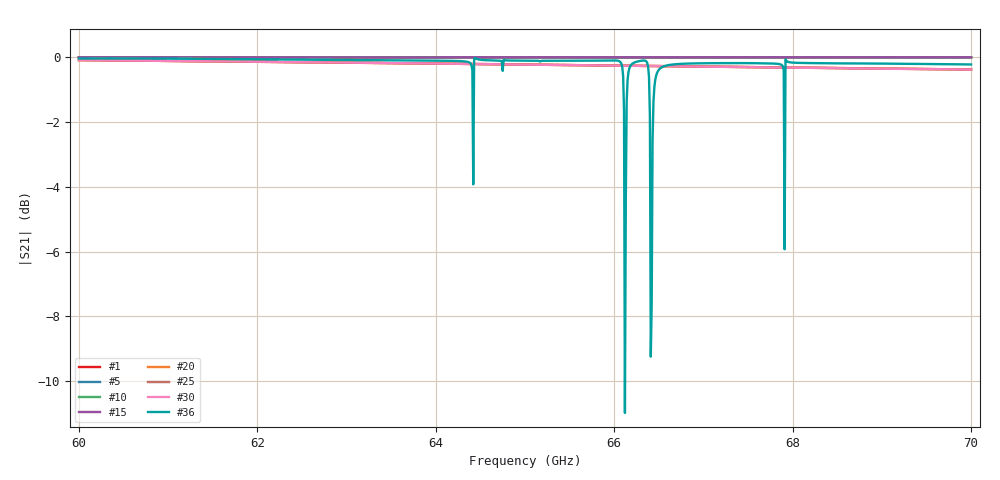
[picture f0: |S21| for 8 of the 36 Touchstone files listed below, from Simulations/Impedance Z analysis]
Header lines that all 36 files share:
! TOUCHSTONE file generated by CST MICROWAVE STUDIO
! Header version: 2018
! Port assignment regex: !\s*Touchstone port\s*([0-9]+)\s*=\s*(CST MWS port|CST DS port)\s*([0-9]+|Zmin|Zmax)\s*\(\"(.*)\"\)(\s*mode\s*([0-9]+))?.*
! Touchstone port assignment:
! Touchstone port 1 = CST MWS port 1 ("")
! Touchstone port 2 = CST MWS port 2 ("")
# GHz S MA R 376.7
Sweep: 60 GHz to 70 GHz
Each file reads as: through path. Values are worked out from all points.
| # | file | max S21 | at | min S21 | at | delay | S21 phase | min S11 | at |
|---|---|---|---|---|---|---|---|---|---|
| 1 | aire_2cm.s2p | 0.00 dB | 60.16 GHz | 0.0 dB | 66.19 GHz | 6.58 ps | -156 deg at 65 GHz | -78.0 dB | 60.38 GHz |
| 2 | aire_2cm_des_PEC_01.s2p | 0.00 dB | 60.05 GHz | -0.9 dB | 64.53 GHz | - | -156 deg at 65 GHz | -92.7 dB | 63.72 GHz |
| 3 | aire_2cm_des_PEC_02.s2p | 0.00 dB | 64.87 GHz | -44.0 dB | 61.44 GHz | - | -163 deg at 65 GHz | -86.0 dB | 66.03 GHz |
| 4 | aire_2cm_des_PEC_03.s2p | 0.00 dB | 67.83 GHz | -18.6 dB | 65.58 GHz | - | -157 deg at 65 GHz | -81.4 dB | 63.09 GHz |
| 5 | aire_2cm_Lair_0mm.s2p | 0.00 dB | 61.4 GHz | 0.0 dB | 60 GHz | 6.56 ps | -156 deg at 65 GHz | -85.1 dB | 60.39 GHz |
| 6 | aire_2cm_Lair_01mm.s2p | 0.00 dB | 61.36 GHz | 0.0 dB | 60 GHz | 7.23 ps | -171 deg at 65 GHz | -75.0 dB | 68.13 GHz |
| 7 | aire_2cm_Lair_02mm.s2p | 0.00 dB | 63.06 GHz | 0.0 dB | 60 GHz | 7.89 ps | 173 deg at 65 GHz | -71.3 dB | 60.49 GHz |
| 8 | aire_2cm_Lair_03mm.s2p | 0.00 dB | 61.74 GHz | 0.0 dB | 60 GHz | 8.56 ps | 157 deg at 65 GHz | -88.3 dB | 60.32 GHz |
| 9 | aire_2cm_Lair_04mm.s2p | 0.00 dB | 61.5 GHz | 0.0 dB | 60 GHz | 9.23 ps | 142 deg at 65 GHz | -89.3 dB | 60.28 GHz |
| 10 | aire_2cm_Lair_05mm.s2p | 0.00 dB | 61.95 GHz | 0.0 dB | 60 GHz | 9.9 ps | 126 deg at 65 GHz | -93.5 dB | 60.25 GHz |
| 11 | aire_2cm_Lair_In_01mm.s2p | 0.00 dB | 63.83 GHz | 0.0 dB | 60 GHz | 6.24 ps | -148 deg at 65 GHz | -72.5 dB | 60.47 GHz |
| 12 | aire_2cm_Lair_In_02mm.s2p | 0.00 dB | 62.77 GHz | 0.0 dB | 60 GHz | 5.9 ps | -140 deg at 65 GHz | -83.9 dB | 60.47 GHz |
| 13 | aire_2cm_Lair_In_03mm.s2p | 0.00 dB | 64.49 GHz | 0.0 dB | 61.29 GHz | 5.56 ps | -132 deg at 65 GHz | -74.7 dB | 60.51 GHz |
| 14 | aire_2cm_Lair_In_04mm.s2p | 0.00 dB | 63.09 GHz | 0.0 dB | 60 GHz | 5.23 ps | -124 deg at 65 GHz | -74.7 dB | 60.51 GHz |
| 15 | aire_2cm_Lair_In_05mm.s2p | 0.00 dB | 64.09 GHz | 0.0 dB | 64.03 GHz | 4.9 ps | -117 deg at 65 GHz | -72.4 dB | 60.48 GHz |
| 16 | MUT_2cm_des_PEC_01.s2p | -0.09 dB | 60 GHz | -0.4 dB | 70 GHz | 9.46 ps | 138 deg at 65 GHz | -16.9 dB | 60 GHz |
| 17 | MUT_2cm_des_PEC_02.s2p | 0.00 dB | 61.98 GHz | -9.0 dB | 63.51 GHz | - | 137 deg at 65 GHz | -35.0 dB | 61.98 GHz |
| 18 | MUT_2cm_des_PEC_03.s2p | 0.00 dB | 69.83 GHz | -27.2 dB | 69.81 GHz | - | 137 deg at 65 GHz | -45.4 dB | 69.83 GHz |
| 19 | MUT_2cm_des_PEC_04.s2p | 0.00 dB | 62.72 GHz | -52.1 dB | 64.66 GHz | - | 138 deg at 65 GHz | -42.3 dB | 62.72 GHz |
| 20 | MUT_2cm_Lair_0mm.s2p | -0.09 dB | 60 GHz | -0.4 dB | 70 GHz | 9.41 ps | 138 deg at 65 GHz | -17.0 dB | 60 GHz |
| 21 | MUT_2cm_Lair_01mm.s2p | -0.09 dB | 60 GHz | -0.4 dB | 70 GHz | 10.1 ps | 122 deg at 65 GHz | -17.0 dB | 60 GHz |
| 22 | MUT_2cm_Lair_02mm.s2p | -0.09 dB | 60 GHz | -0.4 dB | 70 GHz | 10.8 ps | 107 deg at 65 GHz | -17.0 dB | 60 GHz |
| 23 | MUT_2cm_Lair_03mm.s2p | -0.09 dB | 60 GHz | -0.4 dB | 70 GHz | 11.4 ps | 91 deg at 65 GHz | -17.0 dB | 60 GHz |
| 24 | MUT_2cm_Lair_04mm.s2p | -0.09 dB | 60 GHz | -0.4 dB | 70 GHz | 12.1 ps | 76 deg at 65 GHz | -17.0 dB | 60 GHz |
| 25 | MUT_2cm_Lair_05mm.s2p | -0.09 dB | 60 GHz | -0.4 dB | 70 GHz | 12.8 ps | 60 deg at 65 GHz | -17.0 dB | 60 GHz |
| 26 | MUT_2cm_Lair_In_01mm.s2p | -0.09 dB | 60 GHz | -0.4 dB | 70 GHz | 9.07 ps | 146 deg at 65 GHz | -17.0 dB | 60 GHz |
| 27 | MUT_2cm_Lair_In_02mm.s2p | -0.09 dB | 60 GHz | -0.4 dB | 70 GHz | 8.75 ps | 154 deg at 65 GHz | -17.0 dB | 60 GHz |
| 28 | MUT_2cm_Lair_In_03mm.s2p | -0.09 dB | 60 GHz | -0.4 dB | 70 GHz | 8.41 ps | 161 deg at 65 GHz | -17.0 dB | 60 GHz |
| 29 | MUT_2cm_Lair_In_04mm.s2p | -0.09 dB | 60 GHz | -0.4 dB | 70 GHz | 8.08 ps | 169 deg at 65 GHz | -17.0 dB | 60 GHz |
| 30 | MUT_2cm_Lair_In_05mm.s2p | -0.09 dB | 60 GHz | -0.4 dB | 70 GHz | 7.74 ps | 177 deg at 65 GHz | -17.0 dB | 60 GHz |
| 31 | MUT_2cm_X_0.s2p | -0.09 dB | 60 GHz | -0.4 dB | 70 GHz | 9.41 ps | 138 deg at 65 GHz | -17.0 dB | 60 GHz |
| 32 | MUT_2cm_X_1.s2p | -0.08 dB | 60 GHz | -0.4 dB | 68.19 GHz | 9.43 ps | 138 deg at 65 GHz | -17.4 dB | 60 GHz |
| 33 | MUT_2cm_X_2.s2p | -0.07 dB | 60 GHz | -0.3 dB | 69.84 GHz | 9.3 ps | 139 deg at 65 GHz | -18.0 dB | 60 GHz |
| 34 | MUT_2cm_X_3.s2p | -0.01 dB | 64.54 GHz | -12.1 dB | 66.03 GHz | - | 139 deg at 65 GHz | -25.3 dB | 64.54 GHz |
| 35 | MUT_2cm_X_4.s2p | -0.05 dB | 60 GHz | -9.8 dB | 66.09 GHz | - | 139 deg at 65 GHz | -19.5 dB | 60 GHz |
| 36 | MUT_2cm_X_5.s2p | -0.02 dB | 64.44 GHz | -11.0 dB | 66.12 GHz | - | 139 deg at 65 GHz | -23.0 dB | 64.44 GHz |
